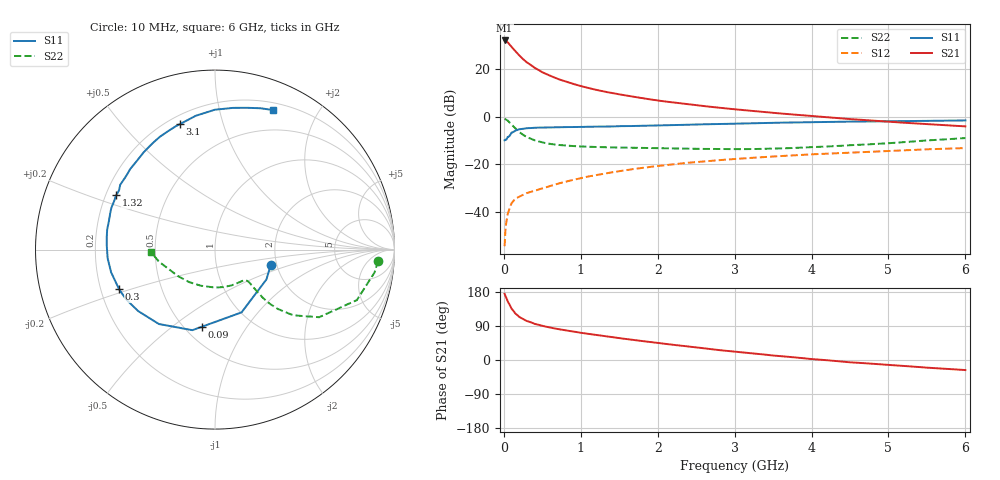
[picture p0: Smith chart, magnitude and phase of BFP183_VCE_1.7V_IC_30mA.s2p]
! Infineon Technologies  Discrete & RF Semiconductors
! BFP183
! VCE = 1.7 V,  IC =  30 mA
! Common Emitter S-Parameters:  Jan 2016
# GHz  S  MA  R  50
!  f  S11  S21  S12  S22
! GHz  MAG  ANG  MAG  ANG  MAG  ANG  MAG  ANG
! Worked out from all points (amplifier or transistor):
!   210 points, 10 MHz to 6 GHz, reference 50 ohm
!   highest |S21| = 32.2 dB at 10 MHz (marker M1)
!   |S21| within 3 dB of that: start of sweep to 110 MHz
!   unconditionally stable (mu >= 1): 469.5 MHz to end of sweep
!   at 185 MHz: K = 0.57, MSG = 30.1 dB, |S12| = -33.9 dB
!   at 1.52 GHz: K = 1.28, MAG = 12.9 dB, |S12| = -22.7 dB
!   at 6 GHz: K = 1.03, MAG = 3.5 dB, |S12| = -13.1 dB
!   S11 on the Smith chart (normalised r, x): 10 MHz: 1.86, -0.35; 90 MHz: 0.61, -0.64; 300 MHz: 0.28, -0.18; 1.32 GHz: 0.24, +0.24; 3.1 GHz: 0.25, +0.73; 6 GHz: 0.27, +1.47
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0.01  0.3221 -15.4  40.72 174.6  0.0019 81.7  0.9106 -3.9
0.02  0.3313 -30.1  40.41 169.5  0.004 75.3  0.8983 -8.1
0.05  0.3798 -67.1  37.52 154.3  0.009 73.6  0.8389 -19.6
0.09  0.435 -99.4  31.29 139.8  0.0139 58.9  0.7178 -29.9
0.1  0.4663 -105.7  30.12 135.3  0.0152 56.8  0.6919 -33.0
0.15  0.5192 -127.0  24.17 122.5  0.0189 51.4  0.5693 -40.0
0.195  0.5438 -139.9  20.1 114.8  0.0207 50.3  0.4901 -43.0
0.2  0.5481 -141.3  19.68 113.8  0.0209 50.2  0.4814 -43.4
0.24  0.5628 -149.0  17.04 108.9  0.0225 49.0  0.4315 -44.6
0.26  0.5694 -152.2  15.92 106.6  0.0233 48.8  0.4103 -45.0
0.3  0.5782 -157.6  14.07 102.8  0.025 49.0  0.3756 -45.2
0.4  0.5925 -167.7  10.83 95.4  0.0278 50.8  0.3216 -44.8
0.5  0.6 -175.3  8.713 90.0  0.0313 51.4  0.2898 -44.2
0.6  0.6033 178.8  7.375 85.6  0.0352 54.4  0.2704 -43.8
0.8  0.6111 169.5  5.576 78.2  0.043 56.4  0.2497 -44.1
1.02  0.6179 160.9  4.372 71.2  0.0521 57.6  0.238 -46.0
1.32  0.6278 151.0  3.379 62.7  0.0644 57.1  0.2298 -50.5
2.02  0.6602 130.6  2.191 44.6  0.0935 52.7  0.2198 -65.2
3.1  0.7258 105.7  1.399 20.2  0.1334 42.7  0.2097 -97.9
4.1  0.7815 88.6  1.015 1.0  0.1655 33.2  0.2343 -131.9
5.1  0.813 76.2  0.772 -14.3  0.1937 25.0  0.2865 -159.5
6  0.8428 67.3  0.632 -26.6  0.2209 16.1  0.3584 -178.1
